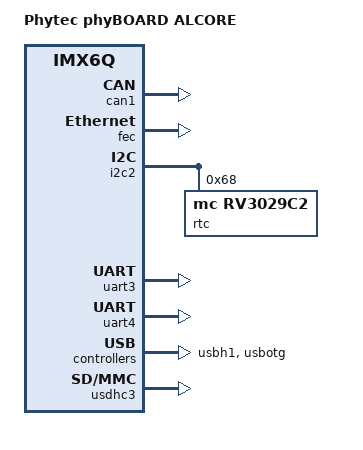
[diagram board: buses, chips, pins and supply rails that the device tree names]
/*
 * Copyright 2014 Christian Hemp, Phytec Messtechnik GmbH
 *
 * The code contained herein is licensed under the GNU General Public
 * License. You may obtain a copy of the GNU General Public License
 * Version 2 or later at the following locations:
 *
 * http://www.opensource.org/licenses/gpl-license.html
 * http://www.gnu.org/copyleft/gpl.html
 */

/dts-v1/;
#include "imx6q-phytec-pfla02.dtsi"

/ {
	model = "Phytec phyBOARD ALCORE";
	compatible = "phytec,imx6q-pbab02", "phytec,imx6q-pfla02", "fsl,imx6q";

	chosen {
		stdout-path = &uart4;
	};
};

&can1 {
/*	gpio = <&gpio4 5 0>; CAN enable GPIO must fix */
	status = "okay";
};

&fec {
	status = "okay";
};

&i2c2 {
	rtc@68 {
		compatible = "mc,rv3029c2";
		reg = <0x68>;
	};
};

/* RS485 */
&uart3 {
	status = "okay";
};

&uart4 {
	status = "okay";
};

&usbh1 {
	status = "okay";
};

&usbotg {
	status = "okay";
};

&usdhc3 {
	status = "okay";
};
